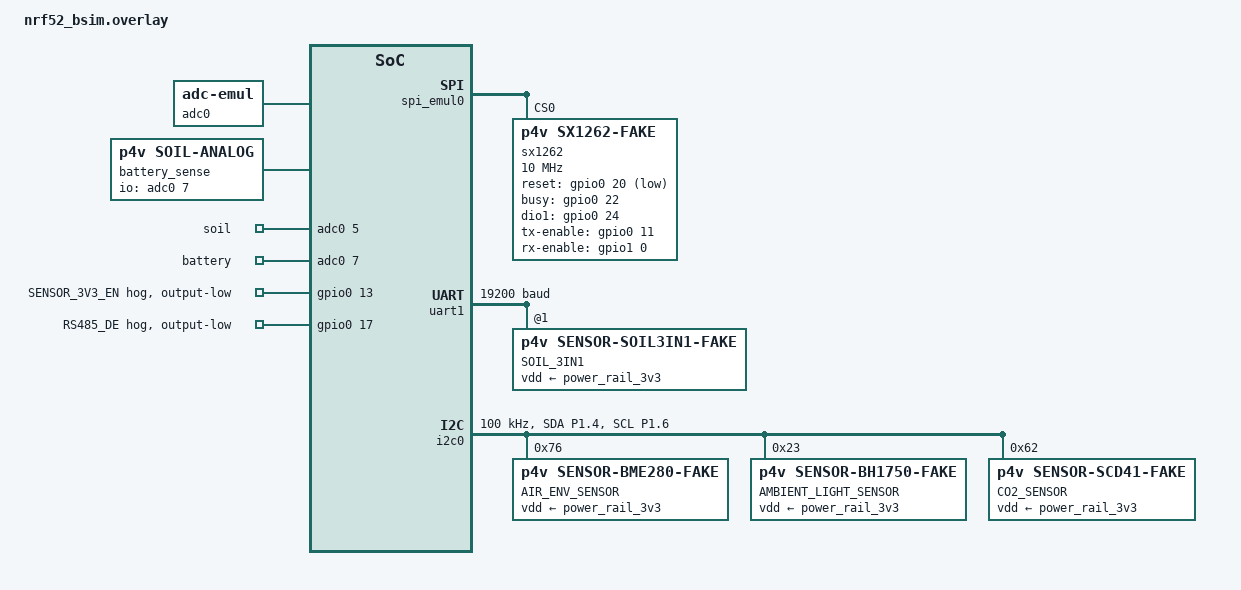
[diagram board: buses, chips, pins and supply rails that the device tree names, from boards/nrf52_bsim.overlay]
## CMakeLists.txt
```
# /* Copyright (c) 2025 P4V77 */

cmake_minimum_required(VERSION 3.20.0)

list(APPEND ZEPHYR_EXTRA_MODULES 
    ${CMAKE_CURRENT_SOURCE_DIR}/../common
)

find_package(Zephyr REQUIRED HINTS $ENV{ZEPHYR_BASE})
project(Fino-LoRaGro)

target_include_directories(app PRIVATE 
    ${CMAKE_CURRENT_SOURCE_DIR}/include
)

target_sources(app PRIVATE 
src/main.cpp 
src/app.cpp
)
```

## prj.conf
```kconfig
# /* Copyright (c) 2025 P4V77 */

# Fino-LoRaGro prj.conf - configure Zephyr features here

# Stack
CONFIG_MAIN_STACK_SIZE=4096

# Basic runtime / logging
CONFIG_LOG=y
CONFIG_LOG_DEFAULT_LEVEL=3

# C++
CONFIG_CPP=y
CONFIG_STD_CPP20=y


# GPIO
CONFIG_GPIO=y
CONFIG_GPIO_NRFX=y
CONFIG_REQUIRES_FULL_LIBCPP=y

# I2C
CONFIG_I2C=y

# Sensors
CONFIG_SENSOR=y

# ADC (we can emulate or stub if needed)
CONFIG_ADC=y

# UART for Modbus on uart1 (MCU native UART in sim)
CONFIG_UART_ASYNC_API=y
CONFIG_UART_INTERRUPT_DRIVEN=y
CONFIG_UART_0_NRF_ASYNC_LOW_POWER=y
CONFIG_SERIAL=y

# Regulator for LDO control
CONFIG_REGULATOR=y
CONFIG_REGULATOR_FIXED=y

# CPU Sleep Power Management
CONFIG_PM=y

# Devices and Peripherials Power Management
CONFIG_PM_DEVICE=y

# Lora Drivers
CONFIG_SPI=y
CONFIG_LORA=y

# NVM Enable
CONFIG_FLASH=y
CONFIG_FLASH_MAP=y
CONFIG_NVS=y

# Encryption
CONFIG_TINYCRYPT=y
CONFIG_TINYCRYPT_AES=y
CONFIG_TINYCRYPT_AES_CMAC=y
```

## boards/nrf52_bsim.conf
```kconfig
# /* Copyright (c) 2025 P4V77 */

# Logging / console
CONFIG_PRINTK=y
CONFIG_CONSOLE=y
CONFIG_UART_CONSOLE=y

# Enabling Fake Drivers for LORAGRO
CONFIG_LORAGRO_FAKE_DRIVERS=y

# For Fake Power Regulator
CONFIG_REGULATOR_P4V_FAKE=y

# Fake Sensor Drivers
CONFIG_SENSOR_P4V_BME280_FAKE=y
CONFIG_SENSOR_P4V_BH1750_FAKE=y
CONFIG_SENSOR_P4V_SCD41_FAKE=y
CONFIG_SOIL_SENSOR_MODBUS_FAKE=y
CONFIG_ADC_EMUL=y

# For Emulation of SPI for LoRa
CONFIG_EMUL=y
CONFIG_SPI_EMUL=y
CONFIG_SX1262_FAKE=y
```

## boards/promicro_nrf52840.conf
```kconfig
# /* Copyright (c) 2025 P4V77 */

# nrf52_bsim.conf - for running FINO app on native_sim / nrf52_bsim
```

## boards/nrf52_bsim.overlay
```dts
/* Copyright (c) 2025 P4V77 */
/* =========================
 * SPI0 – SX1262 LoRa
 * ========================= */
/ {
    spi_emul0: spi-emul@0 {
        compatible = "zephyr,spi-emul-controller";
        reg = <0x0 0x1000>;
        status = "okay";

        #address-cells = <1>;
        #size-cells = <0>;

        sx1262: sx1262@0 {
            compatible = "p4v,sx1262-fake";
            reg = <0>;
            spi-max-frequency = <10000000>;

            reset-gpios = <&gpio0 20 GPIO_ACTIVE_LOW>;
            busy-gpios = <&gpio0 22 GPIO_ACTIVE_HIGH>;
            dio1-gpios = <&gpio0 24 GPIO_ACTIVE_HIGH>;

            tx-enable-gpios = <&gpio0 11 GPIO_ACTIVE_HIGH>;
            rx-enable-gpios = <&gpio1 0 GPIO_ACTIVE_HIGH>;
            status = "okay";
        };
    };
};


/ {
    soc {
        /* =========================
         * UART1 – Modbus RTU
         * ========================= */
        uart1: uart@40028000 {
            compatible = "nordic,nrf-uarte";
            reg = <0x40028000 0x1000>;
            interrupts = <40 1>;
            status = "okay";

            current-speed = <19200>;
            parity = "none";
            stop-bits = "1";

            #address-cells = <1>;
            #size-cells = <0>;

            soil0: soil-sensor@1 {
                compatible = "p4v,sensor-soil3in1-fake";
                reg = <1>;
                slave-address = <1>;
                vdd-supply = <&power_rail_3v3>;
                label = "SOIL_3IN1";
                status = "okay";
            };
        };

        /* =========================
         * I2C0
         * ========================= */
        i2c0: i2c@40002000 {
            compatible = "nordic,nrf-twi";
            reg = <0x40002000 0x1000>;
            interrupts = <2 1>;
            interrupt-parent = <&nvic>;
            clock-frequency = <I2C_BITRATE_STANDARD>;
            status = "okay";
            label = "I2C_0";

            #address-cells = <1>;
            #size-cells = <0>;
            easydma-maxcnt-bits = <15>;

            pinctrl-0 = <&i2c0_default>;
            pinctrl-1 = <&i2c0_sleep>;
            pinctrl-names = "default", "sleep";
        };
    };
};

/* =========================
 * GPIO hogs / regulators
 * ========================= */
&gpio0 {
    power_rail_3v3_en: power_rail_3v3_en {
        gpio-hog;
        gpios = <13 GPIO_ACTIVE_HIGH>;
        output-low;
        line-name = "SENSOR_3V3_EN";
    };
};

&gpio0 {
    rs485_de: rs485_de {
        gpio-hog;
        gpios = <17 GPIO_ACTIVE_HIGH>;
        output-low;
        line-name = "RS485_DE";
    };
};

/ {
    power_rail_3v3: regulator-3v3 {
        compatible = "p4v,fake-regulator";
        regulator-name = "3V3_RAIL";
        regulator-min-microvolt = <3300000>;
        regulator-max-microvolt = <3300000>;
        status = "okay";
    };
};

/* =========================
 * I2C devices (FAKE)
 * ========================= */
&i2c0 {
    bme280: bme280@76 {
        compatible = "p4v,sensor-bme280-fake";
        reg = <0x76>;
        vdd-supply = <&power_rail_3v3>;
        label = "AIR_ENV_SENSOR";
        status = "okay";
    };

    bh1750: bh1750@23 {
        compatible = "p4v,sensor-bh1750-fake";
        reg = <0x23>;
        vdd-supply = <&power_rail_3v3>;
        label = "AMBIENT_LIGHT_SENSOR";
        status = "okay";
    };

    scd41: scd41@62 {
        compatible = "p4v,sensor-scd41-fake";
        reg = <0x62>;
        vdd-supply = <&power_rail_3v3>;
        label = "CO2_SENSOR";
        status = "okay";
    };
};

/* =========================
 * ADC – BSIM / native_sim
 * ========================= */
/ {
    adc0: adc-emul {
        compatible = "zephyr,adc-emul";
        status = "okay";
        #io-channel-cells = <1>;
        nchannels = <10>;
        ref-internal-mv = <600>;
        ref-external0-mv = <0>;
        ref-external1-mv = <3300>;
        ref-vdd-mv = <3300>;  /* was missing — could cause gain_invert to fail */
    };

    /* These should work fine in root */
    soil_capacitive_sensor: soil-cap-sensor {
        io-channels = <&adc0 5>;
        resolution = <12>;
        status = "okay";
    };

    battery_sense: battery-voltage-sense  {
        compatible = "p4v,soil-analog";
        io-channels = <&adc0 7>;
        resolution = <12>;
        voltage-divider = <100000 100000>;
        status = "okay";
    };

    zephyr,user {
        io-channels = <&adc0 5>, <&adc0 7>;  /* Two channels: 5 and 7 */
        io-channel-names = "soil", "battery";  /* Optional but helpful */
        voltage-divider = <100000 100000>;
        resolution = <12>;
    };
};

/* =========================
 * Aliases (MUST be top-level)
 * ========================= */
/ {
    aliases {
        adc0 = &adc0;
        battery-sense = &battery_sense;
        environmental-sensor = &bme280;
        light-sensor = &bh1750;
        co2-sensor = &scd41;
        soil-sensor = &soil0;
        soil-sensor2 = &soil_capacitive_sensor;
        uart = &uart1;
        lora0 = &sx1262;
        power-rail-3v3 = &power_rail_3v3;
    };
};

/ {
    chosen {
        zephyr,storage = &storage_partition;
    };
};

/* =========================
 * Pin control
 * ========================= */
&pinctrl {
    spi0_default: spi0_default {
        group1 {
            psels = <
            NRF_PSEL(SPIM_SCK,  1, 15)
            NRF_PSEL(SPIM_MOSI, 1, 13)
            NRF_PSEL(SPIM_MISO, 1, 11)
            >;
        };
    };

    spi0_sleep: spi0_sleep {
        group1 {
            psels = <
            NRF_PSEL(SPIM_SCK,  1, 15)
            NRF_PSEL(SPIM_MOSI, 1, 13)
            NRF_PSEL(SPIM_MISO, 1, 11)
            >;
            low-power-enable;
        };
    };

    i2c0_default: i2c0_default {
        group1 {
            psels = <
            NRF_PSEL(TWIM_SDA, 1, 4)
            NRF_PSEL(TWIM_SCL, 1, 6)
            >;
        };
    };

    i2c0_sleep: i2c0_sleep {
        group1 {
            psels = <
            NRF_PSEL(TWIM_SDA, 1, 4)
            NRF_PSEL(TWIM_SCL, 1, 6)
            >;
            low-power-enable;
        };
    };
};
```

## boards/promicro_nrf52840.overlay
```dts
/* Copyright (c) 2025 P4V77 */

/* Required macros */
#include <zephyr/dt-bindings/adc/adc.h>
#include <zephyr/dt-bindings/i2c/i2c.h>

/ {
    aliases {
        soil-moisture-adc = &soil_moisture_adc;
        battery-voltage  = &battery_sense;
        air-temp-hum     = &air_env;
        light-sensor     = &ambient_light;
        co2-sensor       = &co2;
        gps-uart         = &sc16is740;
        modbus-uart      = &uart1;
    };
};

/* ===================== UART ===================== */
/* UART1 for Modbus RTU */
&uart1 {
    current-speed = <19200>;
    pinctrl-0 = <&uart1_default>;
    pinctrl-1 = <&uart1_sleep>;
    pinctrl-names = "default", "sleep";
    status = "okay";
};

/* ===================== I2C ===================== */
/* Main sensor bus */
&i2c0 {
    clock-frequency = <I2C_BITRATE_STANDARD>;
    status = "okay";

    /* BME280 – Air temp / humidity / pressure */
    air_env: bme280@76 {
        compatible = "bosch,bme280";
        reg = <0x76>;
    };

    /* OPT3001 – Ambient light */
    ambient_light: opt3001@44 {
        compatible = "ti,opt3001";
        reg = <0x44>;
    };

    /* Sensirion SCD4x – CO₂ sensor */
    co2: scd4x@62 {
        compatible = "sensirion,scd4x";
        reg = <0x62>;
    };

    /* SC16IS740 – I2C → UART bridge for GPS */
    sc16is740: sc16is740@4d {
        compatible = "nxp,sc16is740";
        reg = <0x4d>;
        /* IRQ optional, depends on wiring */
        /* int-gpios = <&gpio0 11 GPIO_ACTIVE_LOW>; */
    };
};

/* ===================== ADC ===================== */
/* SAADC controller enable */
&adc {
    status = "okay";

    #address-cells = <1>;
    #size-cells = <0>;

    /* Capacitive soil moisture sensor – AIN5 / P0.29 */
    soil_moisture_adc: channel@5 {
        reg = <5>;
        zephyr,gain = "ADC_GAIN_1_6";
        zephyr,reference = "ADC_REF_INTERNAL";
        zephyr,acquisition-time = <ADC_ACQ_TIME(ADC_ACQ_TIME_MICROSECONDS, 10)>;
        zephyr,resolution = <12>;
    };

    /* Battery voltage divider – AIN7 / P0.31 */
    battery_sense: channel@7 {
        reg = <7>;
        zephyr,gain = "ADC_GAIN_1_6";
        zephyr,reference = "ADC_REF_INTERNAL";
        zephyr,acquisition-time = <ADC_ACQ_TIME(ADC_ACQ_TIME_MICROSECONDS, 10)>;
        zephyr,resolution = <12>;
    };
};

// spi0: spi@40003000 {
    //     compatible = "nordic,nrf-spim";
    //     reg = <0x40003000 0x1000>;
    //     interrupts = <3 1>;
    //     interrupt-parent = <&nvic>;
    //     status = "okay";
    //     label = "SPI_0";

    //     #address-cells = <1>;
    //     #size-cells = <0>;

    //     max-frequency = <18000000>;
    //     easydma-maxcnt-bits = <15>;
    //     cs-gpios = <&gpio0 10 GPIO_ACTIVE_LOW>;

    //     pinctrl-0 = <&spi0_default>;
    //     pinctrl-1 = <&spi0_sleep>;
    //     pinctrl-names = "default", "sleep";

    //     sx1262: sx1262@0 {
        //         compatible = "semtech,sx1262";
        //         reg = <0>;
        //         spi-max-frequency = <8000000>;

        //         reset-gpios = <&gpio0 20 GPIO_ACTIVE_LOW>;
        //         busy-gpios = <&gpio0 22 GPIO_ACTIVE_HIGH>;
        //         dio1-gpios = <&gpio0 24 GPIO_ACTIVE_HIGH>;

        //         tx-enable-gpios = <&gpio0 11 GPIO_ACTIVE_HIGH>;
        //         rx-enable-gpios = <&gpio1 0 GPIO_ACTIVE_HIGH>;
    //     };
// };


&pinctrl {
    uart1_default: uart1_default {
        group1 {
            psels = <NRF_PSEL(UART_TX, 0, 10)
            NRF_PSEL(UART_RX, 0, 9)>;
        };
    };

    uart1_sleep: uart1_sleep {
        group1 {
            psels = <NRF_PSEL(UART_TX, 0, 10)
            NRF_PSEL(UART_RX, 0, 9)>;
            low-power-enable;
        };
    };
};
```

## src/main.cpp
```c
/*
 * Copyright (c) 2025 P4V77
 * Licensed under the Apache License, Version 2.0
 */
#include <zephyr/kernel.h>
#include <zephyr/logging/log.h>

#include "app.hpp"

LOG_MODULE_REGISTER(main, LOG_LEVEL_DBG);

static loragro::App app;

int main(void)
{
    LOG_INF("Starting application");

    if (app.init() != 0)
    {
        LOG_ERR("App init failed");
        return -1;
    }

    app.run();

    return 0;
}
```

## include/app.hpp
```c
#pragma once
#include <zephyr/kernel.h>
#include <zephyr/logging/log.h>

#include "power_rail_3v3.hpp"
#include "sample_manager.hpp"
#include "sensors/env_sensor_adapter.hpp"
#include "sensors/light_sensor_adapter.hpp"
#include "sensors/co2_sensor_adapter.hpp"
#include "sensors/soil_3in1_adapter.hpp"
#include "sensors/soil_capacitive_adapter.hpp"
#include "sensors/battery_sense.hpp"
#include "lora/lora_interface.hpp"
#include "lora/lora_auth.hpp"
#include "lora/lora_frame_codec.hpp"
#include "lora/lora_protocol_handler.hpp"
#include "config_manager.hpp"
#include "power_management.hpp"

namespace loragro
{

    class App
    {
    public:
        App();

        int init();
        void run();

    private:
        int register_sensors();
        void run_cycle();

    private:
        /* ---- Core ---- */
        PowerRail3V3 regulator_;
        SampleManager sample_mgr_;

        ConfigManager &cfg_;
        DeviceConfig dev_cfg_{};

        /* ---- LoRa stack ---- */
        Auth auth_;
        Interface lora_transceiver_;
        FrameCodec tx_codec_;
        ProtocolHandler rx_handler_;
        PowerManagement pwr_mgr_;

        /* ---- Sensors (persistent instances) ---- */
        EnvSensorAdapter env_sensor_;
        LightSensorAdapter light_sensor_;
        CO2SensorAdapter co2_sensor_;
        SoilSensor3in1ModbusAdapter soil_3in1_sensor_;
        SoilCapacitiveSensor soil_analog_sensor_;
        BatterySenseAdapter battery_sense_;
    };

} // namespace loragro
```

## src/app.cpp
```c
#include "app.hpp"

LOG_MODULE_REGISTER(app, LOG_LEVEL_DBG);

/* ---- Device tree bindings ---- */

static const struct device *const envi_dev =
    DEVICE_DT_GET(DT_ALIAS(environmental_sensor));

static const struct device *const light_dev =
    DEVICE_DT_GET(DT_ALIAS(light_sensor));

static const struct device *const co2_dev =
    DEVICE_DT_GET(DT_ALIAS(co2_sensor));

static const struct device *const soil_modbus_dev =
    DEVICE_DT_GET(DT_ALIAS(soil_sensor));

static const struct device *const adc_dev =
    DEVICE_DT_GET(DT_ALIAS(adc0));

static const struct device *const lora_dev =
    DEVICE_DT_GET(DT_ALIAS(lora0));

/* ========================================================= */
/* ===================== Constructor ======================= */
/* ========================================================= */

loragro::App::App()
    : cfg_(ConfigManager::instance()),
      auth_(cfg_.get()),
      lora_transceiver_(lora_dev, cfg_.get(), auth_),
      tx_codec_(cfg_),
      rx_handler_(cfg_),
      pwr_mgr_(sample_mgr_, loragro::SensorID::BATTERY_VOLTAGE, cfg_.get()),
      env_sensor_(envi_dev,
                  SensorID::ENV_TEMP,
                  SensorID::ENV_RH,
                  SensorID::ENV_PRESS),
      light_sensor_(light_dev, SensorID::AMB_LIGHT),
      co2_sensor_(co2_dev,
                  SensorID::CO2_CONC,
                  SensorID::CO2_TEMP,
                  SensorID::CO2_RH),
      soil_3in1_sensor_(soil_modbus_dev,
                        SensorID::SOIL_MOISTURE,
                        SensorID::SOIL_TEMP,
                        SensorID::SOIL_EC),
      soil_analog_sensor_(adc_dev,
                          SensorID::SOIL_ANALOG_MOISTURE),
      battery_sense_(adc_dev,
                     SensorID::BATTERY_VOLTAGE)
{
}

/* ========================================================= */
/* ======================== Init =========================== */
/* ========================================================= */

int loragro::App::init()
{
    cfg_.load();
    dev_cfg_ = cfg_.get();

    LOG_DBG("Device ID: %d",
            loragro::extract_node(dev_cfg_.combined_id));

    LOG_DBG("Assigned Gateway ID: %d",
            loragro::extract_gateway(dev_cfg_.combined_id));

    register_sensors();

    /* Check lora_dev if ready */
    if (!device_is_ready(lora_dev))
        return -ENODEV;

    return 0;
}

/* ========================================================= */
/* ================= Register Sensors ====================== */
/* ========================================================= */

int loragro::App::register_sensors()
{
    LOG_DBG("Registering sensors");

    if (device_is_ready(envi_dev))
        sample_mgr_.add_sensor(&env_sensor_);

    if (device_is_ready(light_dev))
        sample_mgr_.add_sensor(&light_sensor_);

    if (device_is_ready(co2_dev))
        sample_mgr_.add_sensor(&co2_sensor_);

    if (device_is_ready(soil_modbus_dev))
        sample_mgr_.add_sensor(&soil_3in1_sensor_);

    if (device_is_ready(adc_dev) && soil_analog_sensor_.is_connected())
        sample_mgr_.add_sensor(&soil_analog_sensor_);

    if (device_is_ready(adc_dev) && battery_sense_.is_connected())
        sample_mgr_.add_sensor(&battery_sense_);

    return 0;
}

/* ========================================================= */
/* ========================= Run =========================== */
/* ========================================================= */

void loragro::App::run()
{
    /* Sleeping for calculated time offset
     * Every node has its own time slot based on id
     * slot calculated on mcu start with 50% margin */
    while (true)
    {
        run_cycle();
    }
}

/* ========================================================= */
/* ====================== Run Cycle ======================== */
/* ========================================================= */

void loragro::App::run_cycle()
{
    cfg_.load();
    dev_cfg_ = cfg_.get();
    regulator_.powerOn();

    sample_mgr_.init_all();
    lora_transceiver_.init(dev_cfg_);
    auth_.init_key();

    sample_mgr_.sample_all();
    auto batch = sample_mgr_.get_batch();

    tx_codec_.begin(batch);

    std::array<uint8_t, 255> au8Frame;
    size_t max_payload = lora_transceiver_.get_max_payload();
    size_t usable_payload = max_payload - FrameLayout::AUTH_SIZE;

    uint8_t sent_frame_count = 0;
    while (tx_codec_.has_frame_to_send())
    {
        if (sent_frame_count > dev_cfg_.max_tx_frames_per_cycle)
        {
            LOG_ERR("More than 3 frames (21 measurements) can't be sent, TDMA window cant allow");
            LOG_ERR("Scraping last frame(s)");
            break;
        }

        au8Frame.fill(0);

        int len = tx_codec_.build_frame(au8Frame.begin(), usable_payload);
        if (len <= 0)
            break;

        if (auth_.sign_frame(au8Frame.begin(), len, max_payload) < 0)
            LOG_ERR("Frame Auth Failed");

        uint8_t frame_nmbr = tx_codec_.get_frame_number(au8Frame.begin(), len);
        len += FrameLayout::AUTH_SIZE;
        int ret = lora_transceiver_.send_confirmed(au8Frame.begin(), len);
        if (ret < 0)
            LOG_ERR("Frame %d failed: %d", frame_nmbr, ret);
        else
            LOG_DBG("Frame %d ACKed", frame_nmbr);

        sent_frame_count++;
    }

    /* Only 1 RX for each sleep cycle */
    au8Frame.fill(0);

    int received = lora_transceiver_.receive(au8Frame.begin(), max_payload);
    if (received > 0)
    {
        const uint8_t *tag = au8Frame.begin() + (received - FrameLayout::AUTH_SIZE);
        const uint8_t data_len = (received - FrameLayout::AUTH_SIZE);
        const uint8_t frame_ctr = au8Frame[FrameLayout::FRAME_CTR];

        LOG_DBG("RX received=%d, frame_ctr=%u, frame_type=0x%02x",
                received, frame_ctr, au8Frame[FrameLayout::FRAME_TYPE]);

        int verify_ret = auth_.verify_frame(au8Frame.begin(),
                                            data_len,
                                            frame_ctr,
                                            tag);

        if (verify_ret != 0)
        {
            LOG_ERR("RX Frame Verify Auth Failed");
        }
        else
        {
            // LOG_DBG("verify_frame ret=%d", verify_ret);
            const DecodeResult result = rx_handler_.decode(au8Frame.begin(), received);
            // LOG_DBG("decode result cmd=%d", static_cast<int>(result));

            const int len = tx_codec_.build_frame(au8Frame.begin(), usable_payload, result);
            if (len > 0)
            {
                if (auth_.sign_frame(au8Frame.begin(), len, max_payload) < 0)
                    LOG_ERR("Response Frame Auth Failed");
                else
                {
                    lora_transceiver_.send_response(au8Frame.begin(), len);
                    LOG_HEXDUMP_INF(au8Frame.begin(), len + 4, "Respond:");
                }
            }
        }
    }

    regulator_.powerOff();

    cfg_.save();
    LOG_DBG("\n\n");
    pwr_mgr_.handle_sleep();
}
```
